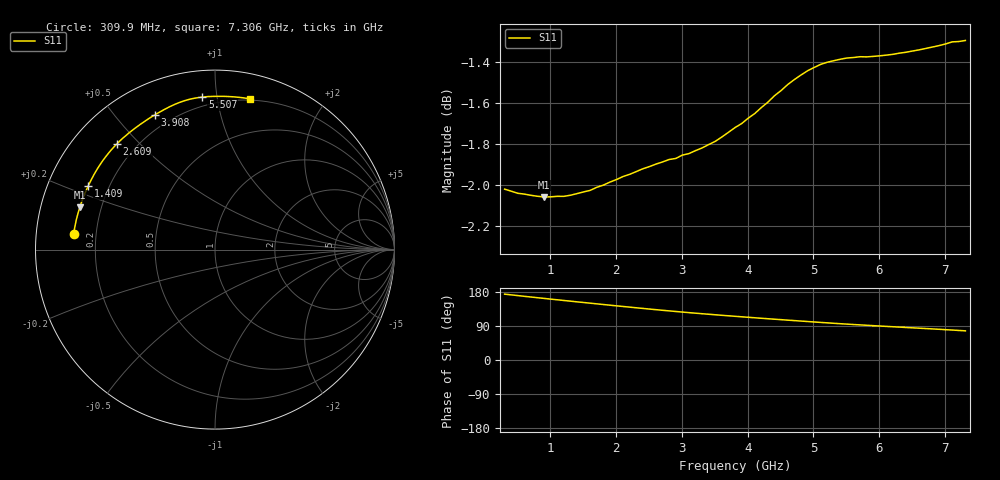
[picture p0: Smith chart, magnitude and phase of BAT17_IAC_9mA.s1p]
! Infineon Technologies  Discrete & RF Semiconductors
! BAT17
! IAC = 9 mA
! One-Port S-Parameters
# Hz  S  MA  R  50
!f  S11
!Hz  Mag  Ang
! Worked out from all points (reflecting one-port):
!   71 points, 309.9 MHz to 7.306 GHz, reference 50 ohm
!   lowest |S11| = -2.1 dB at 909.5 MHz (marker M1), VSWR 8.48, Z = 6.03 + j7.57 ohm
!   phase of S11 starts at 174 deg and turns -97 deg over the sweep
!   S11 on the Smith chart (normalised r, x): 309.9 MHz: 0.12, +0.05; 1.409 GHz: 0.12, +0.23; 2.609 GHz: 0.13, +0.43; 3.908 GHz: 0.14, +0.64; 5.507 GHz: 0.15, +0.91; 7.306 GHz: 0.19, +1.24
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3.0985e8  0.7925 173.8
6.097e8  0.7903 168.1
9.0955e8  0.789 162.5
1.0095e9  0.7891 160.6
1.2094e9  0.7893 157.1
1.4093e9  0.7905 153.5
1.70915e9  0.7933 148.2
2.009e9  0.7968 142.9
2.10895e9  0.7981 141.2
2.30885e9  0.8003 137.8
2.6087e9  0.8037 132.8
2.70865e9  0.8046 131.2
3.0085e9  0.8077 126.5
3.30835e9  0.811 122.1
3.6082e9  0.816 118.0
3.8081e9  0.8203 115.3
3.90805e9  0.8221 114.0
4.4078e9  0.835 107.7
4.70765e9  0.8426 104.0
4.90755e9  0.8467 101.6
5.10745e9  0.8498 99.2
5.4073e9  0.8522 95.7
5.50725e9  0.8528 94.7
5.6072e9  0.8531 93.6
6.007e9  0.8539 89.6
6.50675e9  0.8562 84.9
7.10645e9  0.8606 79.1
7.30635e9  0.8613 77.0
